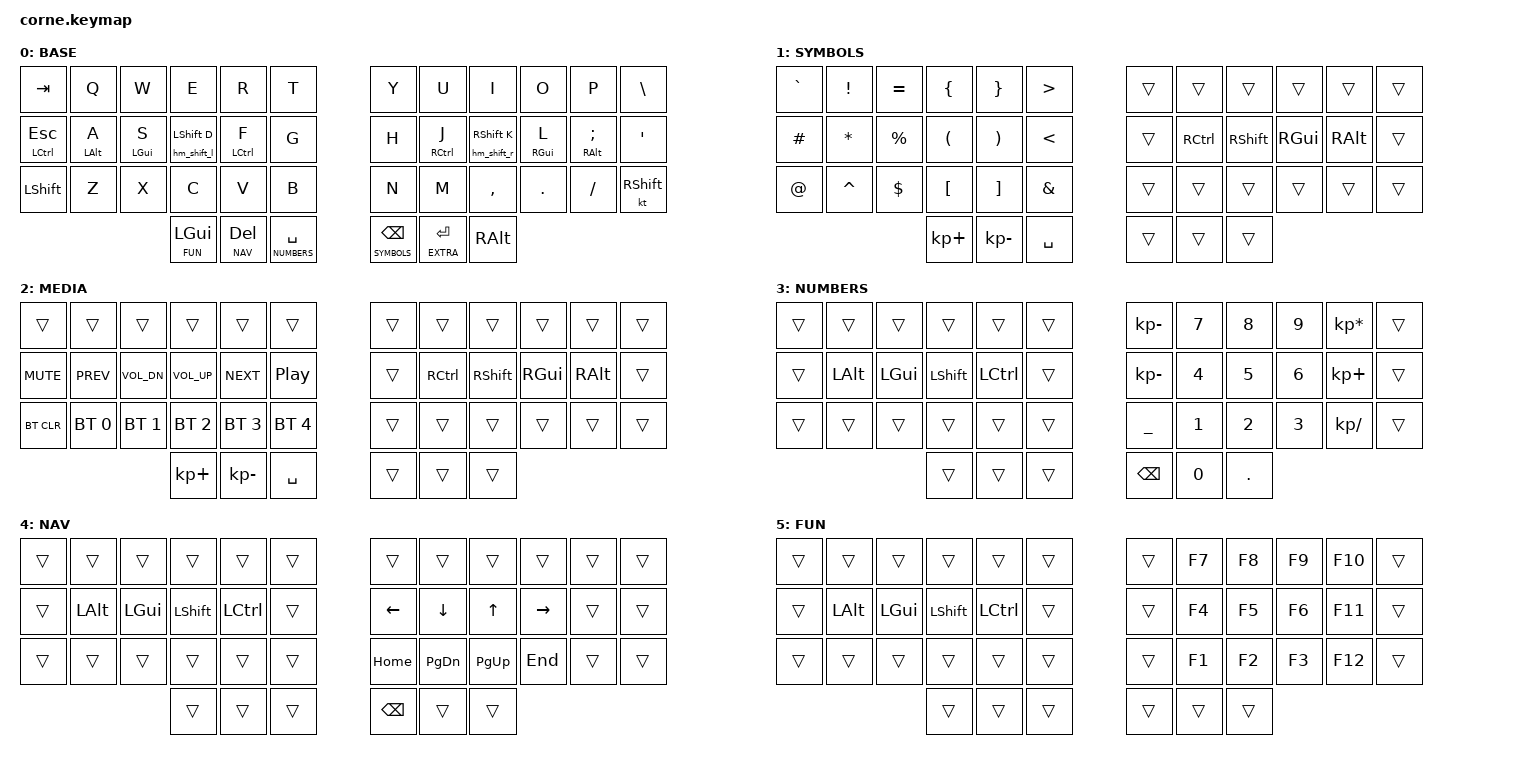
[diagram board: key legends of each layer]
/*
 * Copyright (c) 2020 The ZMK Contributors
 *
 * SPDX-License-Identifier: MIT
 */

#include <behaviors.dtsi>
#include <dt-bindings/zmk/keys.h>
#include <dt-bindings/zmk/bt.h>

// Personal includes
#include "includes/behaviours_homerow_mods.dtsi"

#define BASE    0
#define SYMBOLS 1
#define EXTRA   2
#define NUMBERS 3
#define NAV     4
#define FUN     5

/ {
        keymap {
                compatible = "zmk,keymap";

                base_layer {
			label="BASE";
// -----------------------------------------------------------------------------------------
// |  TAB     |  Q  |  W  |  E  |  R  |  T  |   |  Y  |  U   |  I  |  O  |  P  | BSLH |
// | CTRL/ESC |  A  |  S  |  D  |  F  |  G  |   |  H  |  J   |  K  |  L  |  ;  |  '   |
// | SHFT     |  Z  |  X  |  C  |  V  |  B  |   |  N  |  M   |  ,  |  .  |  /  | SHFT |
//                    | GUI | LWR | NUM/SPC |   | SYM/BKSP | ENT  | ALT |
                        bindings = <
   &kp TAB   &kp Q &kp W &kp E &kp R &kp T   							&kp Y &kp U  &kp I     &kp O   &kp P    &kp BSLH
   &mt LCTRL ESC &hm_l LALT A &hm_l LGUI S &hm_shift_l LSHFT D &hm_l LCTRL F &kp G		&kp H &hm_r RCTRL J  &hm_shift_r RSHFT K &hm_r RGUI L &hm_r RALT SEMI &kp SQT
   &kp LSHFT &kp Z &kp X &kp C &kp V &kp B   							&kp N &kp M  &kp COMMA &kp DOT &kp FSLH &kt RSHFT
                  &lt FUN LGUI &lt NAV DEL &lt NUMBERS SPACE   	&lt SYMBOLS BSPC &lt EXTRA ENTER &kp RALT
                        >;
                };

                symbols_layer {
			label="SYMBOLS";
// -----------------------------------------------------------------------------------------
// | ` | ! | = | { | } | > |   |     |      |      |     |     |      |
// | # | * | % | ( | ) | < |   |     | CTRL | SHFT | GUI | ALT |      |
// | @ | ^ | $ | [ | ] | & |   |     |      |      |     |     |      |
//                    | + | - | SPC |   	|  | |  |
                        bindings = <
   &kp GRAVE &kp EXCL &kp EQUAL &kp LBRC &kp RBRC &kp GT	&trans &trans &trans &trans &trans &trans
   &kp HASH  &kp STAR &kp PRCNT &kp LPAR &kp RPAR &kp LT   	&trans &kp RCTRL &kp RSHFT &kp RGUI &kp RALT &trans
   &kp AT   &kp CARET &kp DLLR  &kp LBKT &kp RBKT &kp AMPS      &trans &trans &trans &trans &trans &trans
                        &kp KP_PLUS &kp KP_MINUS &kp SPACE      &trans &trans &trans
                        >;
                };

                media_layer {
			label="MEDIA";
// -----------------------------------------------------------------------------------------
// |    | RGB_HUD | RGB_HUI | RGB_DN | RGB_UP | RGB_TOG |   |     |      |      |     |     |      |
// | MUTE | PREV  |  V_DN   | V_UP | NEXT | PLY/PSE |   |     | CTRL | SHFT | GUI | ALT |      |
// | BT_CLR | BT1 |   BT2   | BT3  | BT4  |   BT5   |   |     |      |      |     |     |      |
//                    | + | - | SPC |   	|  | |  |
                        bindings = <
   &trans &trans &trans &trans &trans &trans	&trans &trans &trans &trans &trans &trans
   &kp C_MUTE  &kp C_PREV &kp C_VOL_DN &kp C_VOL_UP &kp C_NEXT &kp C_PLAY_PAUSE   	&trans &kp RCTRL &kp RSHFT &kp RGUI &kp RALT &trans
   &bt BT_CLR &bt BT_SEL 0 &bt BT_SEL 1 &bt BT_SEL 2 &bt BT_SEL 3 &bt BT_SEL 4      &trans &trans &trans &trans &trans &trans
                        &kp KP_PLUS &kp KP_MINUS &kp SPACE      &trans &trans &trans
                        >;
                };

                number_layer {
			label="NUMBERS";
// -----------------------------------------------------------------------------------------
// |  |     |     |      |      |  |		|  -  |  7  |  8  |  9  |  *  |  |
// |  | ALT | GUI | SHFT | CTRL |  |		|  -  |  4  |  5  |  6  |  +  |  |
// |  |     |     |      |      |  |		|  _  |  1  |  2  |  3  |  /  |  |
//                    |  |  |  | 		  | BKSP |  0  | . |
                        bindings = <
   &trans &trans &trans &trans &trans &trans			&kp KP_MINUS &kp N7  &kp N8 &kp N9 &kp KP_MULTIPLY &trans
   &trans &kp LALT &kp LGUI &kp LSHFT &kp LCTRL &trans		&kp KP_MINUS &kp N4 &kp N5 &kp N6 &kp KP_PLUS &trans
   &trans &trans &trans &trans &trans &trans			&kp UNDER &kp N1 &kp N2 &kp N3 &kp KP_SLASH &trans
        	&trans &trans &trans   		    			&kp BSPC   &kp N0    &kp DOT
                        >;
                };

                nav_layer {
			label="NAV";
// -----------------------------------------------------------------------------------------
// |  |     |     |      |      |  |		|      |        |      |       |  |  |
// |  | ALT | GUI | SHFT | CTRL |  |		| LEFT |  DOWN  |  UP  | RIGHT |  |  |
// |  |     |     |      |      |  |		| HOME | PGDOWN | PGUP |  END  |  |  |
//                    |  |  |  | 		  | BKSP |  |  |
                        bindings = <
   &trans &trans &trans &trans &trans &trans			&trans &trans  &trans &trans &trans &trans
   &trans &kp LALT &kp LGUI &kp LSHFT &kp LCTRL &trans		&kp LEFT &kp DOWN &kp UP &kp RIGHT &trans &trans
   &trans &trans &trans &trans &trans &trans			&kp HOME &kp PG_DN &kp PG_UP &kp END &trans &trans
        	&trans &trans &trans   		    			&kp BSPC   &trans    &trans
                        >;
                };

                fun_layer {
			label="FUN";
// -----------------------------------------------------------------------------------------
// |  |     |     |      |      |  |		|  |  F7  |  F8  |  F9  | F10 |  |
// |  | ALT | GUI | SHFT | CTRL |  |		|  |  F4  |  F5  |  F6  | F11 |  |
// |  |     |     |      |      |  |		|  |  F1  |  F2  |  F3  | F12 |  |
//                    |  |  |  | 		  |  |  |  |
                        bindings = <
   &trans &trans &trans &trans &trans &trans			&trans &kp F7 &kp F8 &kp F9 &kp F10 &trans
   &trans &kp LALT &kp LGUI &kp LSHFT &kp LCTRL &trans		&trans &kp F4 &kp F5 &kp F6 &kp F11 &trans
   &trans &trans &trans &trans &trans &trans			&trans &kp F1 &kp F2 &kp F3 &kp F12 &trans
        	&trans &trans &trans   		    			&trans   &trans    &trans
                        >;
                };
        };
};
